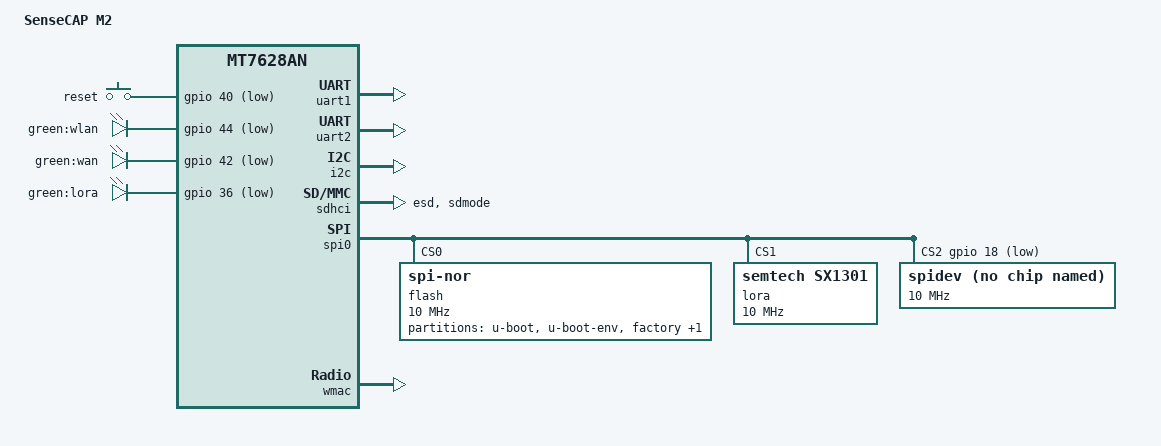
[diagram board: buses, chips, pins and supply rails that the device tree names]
// SPDX-License-Identifier: GPL-2.0-or-later OR MIT
/*
 * Seeed SenseCAP M2 (Multi-Platform LoRaWAN gateway): the SenseCAP WM7628N
 * module, MediaTek MT7628AN, 32MB SPI NOR, an SD card, and a Seeed WM1302
 * (SX1302 + SX1250) on SPI chip select 1.
 *
 * From the device tree ChirpStack Gateway OS carries for the M2
 * (conf/seeed_sensecap_m2/patches/add_sensecap_wm7628n_device.diff,
 * GPL-2.0-or-later OR MIT, as this file is), against OpenWrt 25.12. Changed
 * here:
 *
 *   - MAC addresses and the radio's calibration come from nvmem cells in the
 *     factory partition, as 25.12 reads them (mtd-mac-address is gone);
 *   - the concentrator is "semtech,sx1301", which spidev binds by name;
 *   - the compatible stays sensecap,wm7628n, the board name of Seeed's own
 *     firmware and of Gateway OS's, so an image is accepted from either.
 *
 * The concentrator's reset (GPIO 14), power-enable (GPIO 3) and the SX1261's
 * reset (GPIO 15) are driven by the packet forwarder, not hogged here.
 */

#include "mt7628an.dtsi"

#include <dt-bindings/gpio/gpio.h>
#include <dt-bindings/input/input.h>

/ {
	compatible = "sensecap,wm7628n", "mediatek,mt7628an-soc";
	model = "SenseCAP M2";

	keys {
		compatible = "gpio-keys";

		reset {
			label = "reset";
			gpios = <&gpio 40 GPIO_ACTIVE_LOW>;
			linux,code = <KEY_RESTART>;
		};
	};

	leds {
		compatible = "gpio-leds";

		wlan {
			label = "green:wlan";
			gpios = <&gpio 44 GPIO_ACTIVE_LOW>;
		};

		wan {
			label = "green:wan";
			gpios = <&gpio 42 GPIO_ACTIVE_LOW>;
		};

		lora {
			label = "green:lora";
			gpios = <&gpio 36 GPIO_ACTIVE_LOW>;
		};
	};
};

&state_default {
	gpio {
		groups = "i2s", "p1led_an", "p2led_an", "spis", "wdt", "pwm0", "pwm1", "perst",
			 "wled_an", "p4led_an", "refclk";
		function = "gpio";
	};
};

&uart1 {
	status = "okay";
};

&uart2 {
	status = "okay";
};

&i2c {
	status = "okay";
};

&pinctrl {
	ephy-digital;

	sdxc_iot_mode: sdxc_iot_mode {
		esd {
			groups = "esd";
			function = "iot";
		};

		sdxc {
			groups = "sdmode";
			function = "sdxc";
		};
	};
};

&sdhci {
	status = "okay";

	pinctrl-0 = <&sdxc_iot_mode>;
	pinctrl-1 = <&sdxc_iot_mode>;
};

&spi0 {
	status = "okay";

	pinctrl-0 = <&spi_pins>, <&spi_cs1_pins>;
	cs-gpios = <0>, <0>, <&gpio 18 GPIO_ACTIVE_LOW>;

	flash@0 {
		compatible = "jedec,spi-nor";
		reg = <0>;
		spi-max-frequency = <10000000>;

		partitions {
			compatible = "fixed-partitions";
			#address-cells = <1>;
			#size-cells = <1>;

			partition@0 {
				label = "u-boot";
				reg = <0x0 0x30000>;
				read-only;
			};

			partition@30000 {
				label = "u-boot-env";
				reg = <0x30000 0x10000>;
			};

			partition@40000 {
				label = "factory";
				reg = <0x40000 0x10000>;
				read-only;

				nvmem-layout {
					compatible = "fixed-layout";
					#address-cells = <1>;
					#size-cells = <1>;

					eeprom_factory_0: eeprom@0 {
						reg = <0x0 0x400>;
					};

					macaddr_factory_2e: macaddr@2e {
						reg = <0x2e 0x6>;
					};
				};
			};

			partition@50000 {
				compatible = "denx,uimage";
				label = "firmware";
				reg = <0x50000 0x1fb0000>;
			};
		};
	};

	/* The WM1302: /dev/spidev0.1. */
	lora@1 {
		compatible = "semtech,sx1301";
		reg = <1>;
		spi-max-frequency = <10000000>;
	};

	/* Chip select 2 on GPIO 18, as Seeed's firmware exposes it. */
	spidev@2 {
		compatible = "rohm,dh2228fv";
		reg = <2>;
		spi-max-frequency = <10000000>;
	};
};

/* Seeed's firmware gives the wired interface the MAC at 0x2e. */
&ethernet {
	nvmem-cells = <&macaddr_factory_2e>;
	nvmem-cell-names = "mac-address";
};

&wmac {
	status = "okay";

	nvmem-cells = <&eeprom_factory_0>;
	nvmem-cell-names = "eeprom";
};
